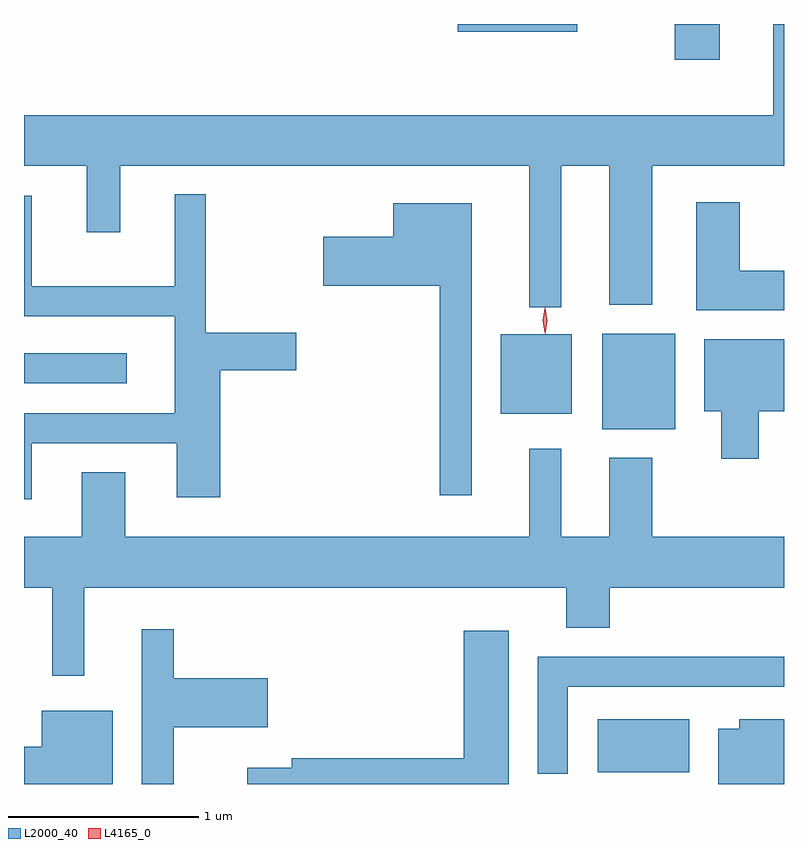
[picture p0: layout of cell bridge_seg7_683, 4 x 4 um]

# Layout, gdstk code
import gdstk
lib = gdstk.Library(unit=1e-6, precision=1e-09)
def R(c, l, rs):  # rectangles x0, y0, x1, y1
    for r in rs: c.add(gdstk.rectangle(r[:2], r[2:], *l))
def P(c, l, *ps):  # polygons
    for p in ps: c.add(gdstk.Polygon(p, *l))
L2000_40 = (2000, 40)
L4165_0 = (4165, 0)

bridge_seg7_683 = lib.new_cell('bridge_seg7_683')
R(bridge_seg7_683, L2000_40, [(921.221,1693.366,921.704,1693.644), (921.246,1695.171,921.629,1695.674), (920.711,1695.251,921.084,1695.669), (918.202,1695.411,918.743,1695.569), (921.626,1697.116,921.864,1697.303), (920.486,1697.261,921.114,1697.303)])
P(bridge_seg7_683, L2000_40, [(921.029,1696.556),(921.281,1696.556),(921.281,1695.826),(921.509,1695.826),(921.509,1696.556),(922.202,1696.556),(922.202,1697.303),(922.146,1697.303),(922.146,1696.824),(918.202,1696.824),(918.202,1696.556),(918.531,1696.556),(918.531,1696.206),(918.709,1696.206),(918.709,1696.556),(920.861,1696.556),(920.861,1695.813),(921.029,1695.813)],
  [(918.244,1695.096),(919.006,1695.096),(919.006,1694.811),(919.234,1694.811),(919.234,1695.481),(919.634,1695.481),(919.634,1695.679),(919.159,1695.679),(919.159,1696.408),(918.996,1696.408),(918.996,1695.924),(918.244,1695.924),(918.244,1696.399),(918.202,1696.399),(918.202,1695.766),(918.996,1695.766),(918.996,1695.254),(918.202,1695.254),(918.202,1694.803),(918.244,1694.803)],
  [(922.202,1696.004),(921.969,1696.004),(921.969,1696.364),(921.741,1696.364),(921.741,1695.796),(922.202,1695.796)],
  [(920.559,1696.359),(920.146,1696.359),(920.146,1696.184),(919.776,1696.184),(919.776,1695.926),(920.391,1695.926),(920.391,1694.823),(920.559,1694.823)],
  [(922.069,1695.266),(922.202,1695.266),(922.202,1695.644),(921.781,1695.644),(921.781,1695.266),(921.871,1695.266),(921.871,1695.016),(922.069,1695.016)],
  [(918.519,1694.336),(921.056,1694.336),(921.056,1694.126),(921.284,1694.126),(921.284,1694.336),(922.202,1694.336),(922.202,1694.604),(921.509,1694.604),(921.509,1695.019),(921.281,1695.019),(921.281,1694.604),(921.029,1694.604),(921.029,1695.068),(920.861,1695.068),(920.861,1694.604),(918.734,1694.604),(918.734,1694.944),(918.506,1694.944),(918.506,1694.604),(918.202,1694.604),(918.202,1694.336),(918.351,1694.336),(918.351,1693.873),(918.519,1693.873)],
  [(918.989,1693.601),(919.484,1693.601),(919.484,1693.859),(918.989,1693.859),(918.989,1694.118),(918.821,1694.118),(918.821,1693.303),(918.989,1693.303)],
  [(920.754,1694.109),(920.516,1694.109),(920.516,1693.439),(919.611,1693.439),(919.611,1693.389),(919.376,1693.389),(919.376,1693.303),(920.754,1693.303)],
  [(921.064,1693.816),(922.202,1693.816),(922.202,1693.974),(920.906,1693.974),(920.906,1693.358),(921.064,1693.358)],
  [(918.669,1693.689),(918.296,1693.689),(918.296,1693.499),(918.202,1693.499),(918.202,1693.303),(918.669,1693.303)],
  [(922.202,1693.644),(921.966,1693.644),(921.966,1693.594),(921.856,1693.594),(921.856,1693.303),(922.202,1693.303)])
P(bridge_seg7_683, L4165_0, [(920.942,1695.678),(920.942,1695.679),(920.933,1695.743),(920.944,1695.806),(920.944,1695.807),(920.945,1695.806),(920.953,1695.742),(920.943,1695.679)],
  [(920.945,1695.674),(920.945,1695.674),(920.935,1695.742),(920.945,1695.81),(920.945,1695.81),(920.946,1695.81),(920.955,1695.742),(920.946,1695.674)])

lib.write_gds('bridge_seg7_683.gds')
